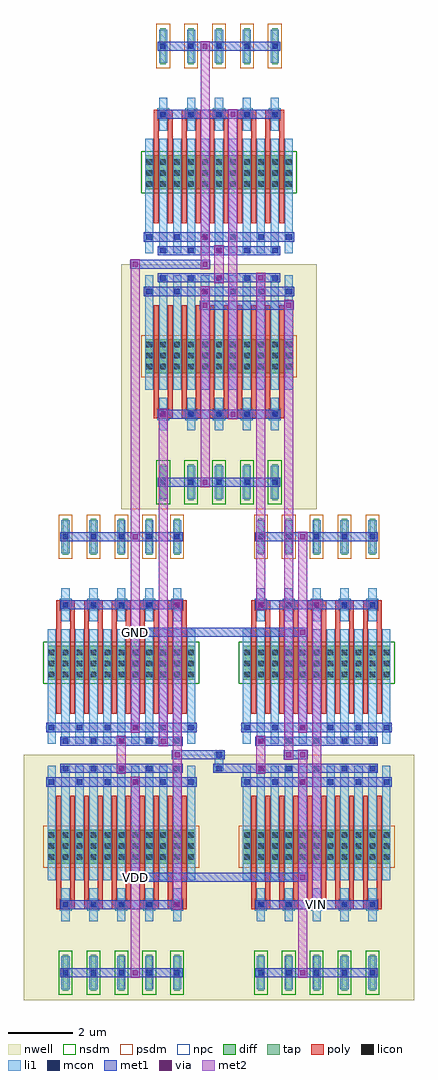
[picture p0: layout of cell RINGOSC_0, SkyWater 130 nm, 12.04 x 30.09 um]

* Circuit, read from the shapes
.subckt RINGOSC_0 GND VDD VIN
XM1 n1 n2 GND GND sky130_fd_pr__nfet_01v8 w=1.05 l=0.15 m=10
XM2 VIN n1 GND GND sky130_fd_pr__nfet_01v8 w=1.05 l=0.15 m=10
XM3 n2 VIN GND GND sky130_fd_pr__nfet_01v8 w=1.05 l=0.15 m=10
XM4 n1 n2 VDD VDD sky130_fd_pr__pfet_01v8 w=1.05 l=0.15 m=10
XM5 VIN n1 VDD VDD sky130_fd_pr__pfet_01v8 w=1.05 l=0.15 m=10
XM6 n2 VIN VDD VDD sky130_fd_pr__pfet_01v8 w=1.05 l=0.15 m=10
.ends

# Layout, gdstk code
from math import pi, radians
import gdstk
lib = gdstk.Library(unit=1e-6, precision=1e-09)
def R(c, l, rs):  # rectangles x0, y0, x1, y1
    for r in rs: c.add(gdstk.rectangle(r[:2], r[2:], *l))
def A(c, l, x, y, w, h, nx, ny, dx, dy):  # array of equal rectangles
    R(c, l, [(x+i*dx, y+j*dy, x+i*dx+w, y+j*dy+h) for i in range(nx) for j in range(ny)])
nwell = (64, 20)
diff = (65, 20)
tap = (65, 44)
poly = (66, 20)
licon = (66, 44)
li1 = (67, 20)
mcon = (67, 44)
met1 = (68, 20)
via = (68, 44)
met2 = (69, 20)
nsdm = (93, 44)
psdm = (94, 20)
npc = (95, 20)

pmos_s_72546662_x5_y1_16 = lib.new_cell('PMOS_S_72546662_X5_Y1_1679063324_1679063324')
R(pmos_s_72546662_x5_y1_16, nwell, [(0,0,6.02,7.56)])
R(pmos_s_72546662_x5_y1_16, diff, [(0.735,2.31,5.285,3.36)])
A(pmos_s_72546662_x5_y1_16, tap, 1.205, 6.16, 0.17, 1.12, 5, 1, 0.86, 0)
A(pmos_s_72546662_x5_y1_16, poly, 1, 1.26, 0.15, 3.225, 10, 1, 0.43, 0)
A(pmos_s_72546662_x5_y1_16, poly, 1, 4.485, 0.58, 0.27, 5, 1, 0.86, 0)
A(pmos_s_72546662_x5_y1_16, licon, 0.775, 2.39, 0.17, 0.17, 11, 3, 0.43, 0.34)
A(pmos_s_72546662_x5_y1_16, licon, 1.205, 4.535, 0.17, 0.17, 5, 2, 0.86, 2.1)
A(pmos_s_72546662_x5_y1_16, li1, 0.735, 0.335, 0.25, 3.53, 11, 1, 0.43, 0)
A(pmos_s_72546662_x5_y1_16, li1, 1.165, 4.115, 0.25, 1.01, 5, 2, 0.86, 2.1)
A(pmos_s_72546662_x5_y1_16, mcon, 1.205, 0.335, 0.17, 0.17, 5, 2, 0.86, 4.2)
A(pmos_s_72546662_x5_y1_16, mcon, 0.775, 0.755, 0.17, 0.17, 6, 1, 0.86, 0)
A(pmos_s_72546662_x5_y1_16, mcon, 1.205, 6.635, 0.17, 0.17, 5, 1, 0.86, 0)
R(pmos_s_72546662_x5_y1_16, met1, [(1.12,0.28,4.9,0.56), (0.69,0.7,5.33,0.98), (1.12,4.48,4.9,4.76), (1.12,6.58,4.9,6.86)])
R(pmos_s_72546662_x5_y1_16, via, [(3.365,0.765,3.515,0.915), (3.365,6.645,3.515,6.795)])
R(pmos_s_72546662_x5_y1_16, met2, [(3.3,0.68,3.58,6.88)])
A(pmos_s_72546662_x5_y1_16, nsdm, 1.08, 6.035, 0.42, 1.37, 5, 1, 0.86, 0)
R(pmos_s_72546662_x5_y1_16, psdm, [(0.61,2.185,5.41,3.485)])
A(pmos_s_72546662_x5_y1_16, npc, 1.105, 4.435, 0.37, 0.37, 5, 1, 0.86, 0)

nmos_s_79666698_x5_y1_16 = lib.new_cell('NMOS_S_79666698_X5_Y1_1679063323_1679063324')
R(nmos_s_79666698_x5_y1_16, diff, [(0.735,2.31,5.285,3.36)])
A(nmos_s_79666698_x5_y1_16, tap, 1.205, 6.16, 0.17, 1.12, 5, 1, 0.86, 0)
A(nmos_s_79666698_x5_y1_16, poly, 1, 1.26, 0.15, 3.225, 10, 1, 0.43, 0)
A(nmos_s_79666698_x5_y1_16, poly, 1, 4.485, 0.58, 0.27, 5, 1, 0.86, 0)
A(nmos_s_79666698_x5_y1_16, licon, 0.775, 2.39, 0.17, 0.17, 11, 3, 0.43, 0.34)
A(nmos_s_79666698_x5_y1_16, licon, 1.205, 4.535, 0.17, 0.17, 5, 2, 0.86, 2.1)
A(nmos_s_79666698_x5_y1_16, li1, 0.735, 0.335, 0.25, 3.53, 11, 1, 0.43, 0)
A(nmos_s_79666698_x5_y1_16, li1, 1.165, 4.115, 0.25, 1.01, 5, 2, 0.86, 2.1)
A(nmos_s_79666698_x5_y1_16, mcon, 1.205, 0.335, 0.17, 0.17, 5, 2, 0.86, 4.2)
A(nmos_s_79666698_x5_y1_16, mcon, 0.775, 0.755, 0.17, 0.17, 6, 1, 0.86, 0)
A(nmos_s_79666698_x5_y1_16, mcon, 1.205, 6.635, 0.17, 0.17, 5, 1, 0.86, 0)
R(nmos_s_79666698_x5_y1_16, met1, [(1.12,0.28,4.9,0.56), (0.69,0.7,5.33,0.98), (1.12,4.48,4.9,4.76), (1.12,6.58,4.9,6.86)])
R(nmos_s_79666698_x5_y1_16, via, [(3.365,0.765,3.515,0.915), (3.365,6.645,3.515,6.795)])
R(nmos_s_79666698_x5_y1_16, met2, [(3.3,0.68,3.58,6.88)])
R(nmos_s_79666698_x5_y1_16, nsdm, [(0.61,2.185,5.41,3.485)])
A(nmos_s_79666698_x5_y1_16, psdm, 1.08, 6.035, 0.42, 1.37, 5, 1, 0.86, 0)
A(nmos_s_79666698_x5_y1_16, npc, 1.105, 4.435, 0.37, 0.37, 5, 1, 0.86, 0)

inv_57920576_0_0_1679063 = lib.new_cell('INV_57920576_0_0_1679063324')
R(inv_57920576_0_0_1679063, met1, [(3.28,2.8,3.6,3.08), (2.85,7,3.17,7.28), (2.85,7.84,3.17,8.12), (3.28,12.04,3.6,12.32)])
R(inv_57920576_0_0_1679063, via, [(3.365,2.865,3.515,3.015), (2.935,7.065,3.085,7.215), (2.935,7.905,3.085,8.055), (3.365,12.105,3.515,12.255)])
R(inv_57920576_0_0_1679063, met2, [(3.3,2.78,3.58,12.34), (2.87,6.98,3.15,8.14)])
inv_57920576_0_0_1679063.add(gdstk.Reference(pmos_s_72546662_x5_y1_16, (6.02,7.56), rotation=pi, x_reflection=True))
inv_57920576_0_0_1679063.add(gdstk.Reference(nmos_s_79666698_x5_y1_16, (6.02,7.56), rotation=pi))

c_pmos_s_72546662_x5_y1_16 = lib.new_cell('PMOS_S_72546662_X5_Y1_1679063324_1679063325')
R(c_pmos_s_72546662_x5_y1_16, nwell, [(0,0,6.02,7.56)])
R(c_pmos_s_72546662_x5_y1_16, diff, [(0.735,2.31,5.285,3.36)])
A(c_pmos_s_72546662_x5_y1_16, tap, 1.205, 6.16, 0.17, 1.12, 5, 1, 0.86, 0)
A(c_pmos_s_72546662_x5_y1_16, poly, 1, 1.26, 0.15, 3.225, 10, 1, 0.43, 0)
A(c_pmos_s_72546662_x5_y1_16, poly, 1, 4.485, 0.58, 0.27, 5, 1, 0.86, 0)
A(c_pmos_s_72546662_x5_y1_16, licon, 0.775, 2.39, 0.17, 0.17, 11, 3, 0.43, 0.34)
A(c_pmos_s_72546662_x5_y1_16, licon, 1.205, 4.535, 0.17, 0.17, 5, 2, 0.86, 2.1)
A(c_pmos_s_72546662_x5_y1_16, li1, 0.735, 0.335, 0.25, 3.53, 11, 1, 0.43, 0)
A(c_pmos_s_72546662_x5_y1_16, li1, 1.165, 4.115, 0.25, 1.01, 5, 2, 0.86, 2.1)
A(c_pmos_s_72546662_x5_y1_16, mcon, 1.205, 0.335, 0.17, 0.17, 5, 2, 0.86, 4.2)
A(c_pmos_s_72546662_x5_y1_16, mcon, 0.775, 0.755, 0.17, 0.17, 6, 1, 0.86, 0)
A(c_pmos_s_72546662_x5_y1_16, mcon, 1.205, 6.635, 0.17, 0.17, 5, 1, 0.86, 0)
R(c_pmos_s_72546662_x5_y1_16, met1, [(1.12,0.28,4.9,0.56), (0.69,0.7,5.33,0.98), (1.12,4.48,4.9,4.76), (1.12,6.58,4.9,6.86)])
R(c_pmos_s_72546662_x5_y1_16, via, [(3.365,0.765,3.515,0.915), (3.365,6.645,3.515,6.795)])
R(c_pmos_s_72546662_x5_y1_16, met2, [(3.3,0.68,3.58,6.88)])
A(c_pmos_s_72546662_x5_y1_16, nsdm, 1.08, 6.035, 0.42, 1.37, 5, 1, 0.86, 0)
R(c_pmos_s_72546662_x5_y1_16, psdm, [(0.61,2.185,5.41,3.485)])
A(c_pmos_s_72546662_x5_y1_16, npc, 1.105, 4.435, 0.37, 0.37, 5, 1, 0.86, 0)

c_nmos_s_79666698_x5_y1_16 = lib.new_cell('NMOS_S_79666698_X5_Y1_1679063323_1679063325')
R(c_nmos_s_79666698_x5_y1_16, diff, [(0.735,2.31,5.285,3.36)])
A(c_nmos_s_79666698_x5_y1_16, tap, 1.205, 6.16, 0.17, 1.12, 5, 1, 0.86, 0)
A(c_nmos_s_79666698_x5_y1_16, poly, 1, 1.26, 0.15, 3.225, 10, 1, 0.43, 0)
A(c_nmos_s_79666698_x5_y1_16, poly, 1, 4.485, 0.58, 0.27, 5, 1, 0.86, 0)
A(c_nmos_s_79666698_x5_y1_16, licon, 0.775, 2.39, 0.17, 0.17, 11, 3, 0.43, 0.34)
A(c_nmos_s_79666698_x5_y1_16, licon, 1.205, 4.535, 0.17, 0.17, 5, 2, 0.86, 2.1)
A(c_nmos_s_79666698_x5_y1_16, li1, 0.735, 0.335, 0.25, 3.53, 11, 1, 0.43, 0)
A(c_nmos_s_79666698_x5_y1_16, li1, 1.165, 4.115, 0.25, 1.01, 5, 2, 0.86, 2.1)
A(c_nmos_s_79666698_x5_y1_16, mcon, 1.205, 0.335, 0.17, 0.17, 5, 2, 0.86, 4.2)
A(c_nmos_s_79666698_x5_y1_16, mcon, 0.775, 0.755, 0.17, 0.17, 6, 1, 0.86, 0)
A(c_nmos_s_79666698_x5_y1_16, mcon, 1.205, 6.635, 0.17, 0.17, 5, 1, 0.86, 0)
R(c_nmos_s_79666698_x5_y1_16, met1, [(1.12,0.28,4.9,0.56), (0.69,0.7,5.33,0.98), (1.12,4.48,4.9,4.76), (1.12,6.58,4.9,6.86)])
R(c_nmos_s_79666698_x5_y1_16, via, [(3.365,0.765,3.515,0.915), (3.365,6.645,3.515,6.795)])
R(c_nmos_s_79666698_x5_y1_16, met2, [(3.3,0.68,3.58,6.88)])
R(c_nmos_s_79666698_x5_y1_16, nsdm, [(0.61,2.185,5.41,3.485)])
A(c_nmos_s_79666698_x5_y1_16, psdm, 1.08, 6.035, 0.42, 1.37, 5, 1, 0.86, 0)
A(c_nmos_s_79666698_x5_y1_16, npc, 1.105, 4.435, 0.37, 0.37, 5, 1, 0.86, 0)

stage2_inv_62673116_0_0_ = lib.new_cell('STAGE2_INV_62673116_0_0_1679063325')
R(stage2_inv_62673116_0_0_, li1, [(5.895,7.475,6.145,8.065)])
R(stage2_inv_62673116_0_0_, mcon, [(5.935,7.475,6.105,7.645), (5.935,7.895,6.105,8.065)])
R(stage2_inv_62673116_0_0_, met1, [(4.57,2.8,4.89,3.08), (8.87,2.8,9.19,3.08), (3.28,3.64,8.76,3.92), (2.85,7,3.17,7.28), (7.15,7,7.47,7.28), (4.57,7.42,6.19,7.7), (2.85,7.84,3.17,8.12), (5.85,7.84,7.47,8.12), (3.28,11.2,8.76,11.48), (4.57,12.04,4.89,12.32), (8.87,12.04,9.19,12.32)])
A(stage2_inv_62673116_0_0_, via, 4.655, 2.865, 0.15, 0.15, 1, 3, 0, 4.62)
R(stage2_inv_62673116_0_0_, via, [(8.955,2.865,9.105,3.015), (3.365,3.705,3.515,3.855), (8.525,3.705,8.675,3.855), (2.935,7.065,3.085,7.215), (7.235,7.065,7.385,7.215), (2.935,7.905,3.085,8.055), (7.235,7.905,7.385,8.055), (3.365,11.265,3.515,11.415), (8.525,11.265,8.675,11.415), (8.955,12.105,9.105,12.255)])
R(stage2_inv_62673116_0_0_, met2, [(4.59,2.78,4.87,12.34), (8.89,2.78,9.17,12.34), (3.3,3.62,3.58,3.94), (8.46,3.62,8.74,3.94), (2.87,6.98,3.15,8.14), (7.17,6.98,7.45,8.14), (3.3,11.18,3.58,11.5), (8.46,11.18,8.74,11.5)])
stage2_inv_62673116_0_0_.add(gdstk.Reference(c_pmos_s_72546662_x5_y1_16, (0,7.56)))
stage2_inv_62673116_0_0_.add(gdstk.Reference(c_pmos_s_72546662_x5_y1_16, (12.04,7.56), rotation=pi, x_reflection=True))
stage2_inv_62673116_0_0_.add(gdstk.Reference(c_nmos_s_79666698_x5_y1_16, (0,7.56), x_reflection=True))
stage2_inv_62673116_0_0_.add(gdstk.Reference(c_nmos_s_79666698_x5_y1_16, (12.04,7.56), rotation=pi))

ringosc_0 = lib.new_cell('RINGOSC_0')
R(ringosc_0, met1, [(8.01,7.42,8.76,7.7), (4.14,7.84,4.46,8.12), (7.15,12.04,7.47,12.32), (4.14,17.92,4.46,18.2), (5.43,21.28,8.33,21.56), (7.15,22.12,7.47,22.4), (3.28,22.54,5.75,22.82)])
R(ringosc_0, via, [(8.095,7.485,8.245,7.635), (8.525,7.485,8.675,7.635), (4.225,7.905,4.375,8.055), (7.235,12.105,7.385,12.255), (4.225,17.985,4.375,18.135), (5.515,21.345,5.665,21.495), (8.095,21.345,8.245,21.495), (7.235,22.185,7.385,22.335), (3.365,22.605,3.515,22.755), (5.515,22.605,5.665,22.755)])
R(ringosc_0, met2, [(8.46,6.72,8.74,7.72), (8.03,7.4,8.31,21.58), (4.16,7.82,4.44,18.22), (7.17,12.02,7.45,22.42), (3.3,14.28,3.58,22.84), (5.45,21.26,5.73,21.58), (5.45,22.52,5.73,23.52)])
ringosc_0.add(gdstk.Reference(inv_57920576_0_0_1679063, (3.01,30.24), x_reflection=True))
ringosc_0.add(gdstk.Reference(stage2_inv_62673116_0_0_, (0,15.12), x_reflection=True))
ringosc_0.add(gdstk.Label('GND', (3.44,11.34), layer=69, texttype=5))
ringosc_0.add(gdstk.Label('VDD', (3.44,3.78), layer=69, texttype=5))
ringosc_0.add(gdstk.Label('VIN', (9.03,2.94), layer=68, texttype=5))

lib.write_gds('RINGOSC_0.gds')
